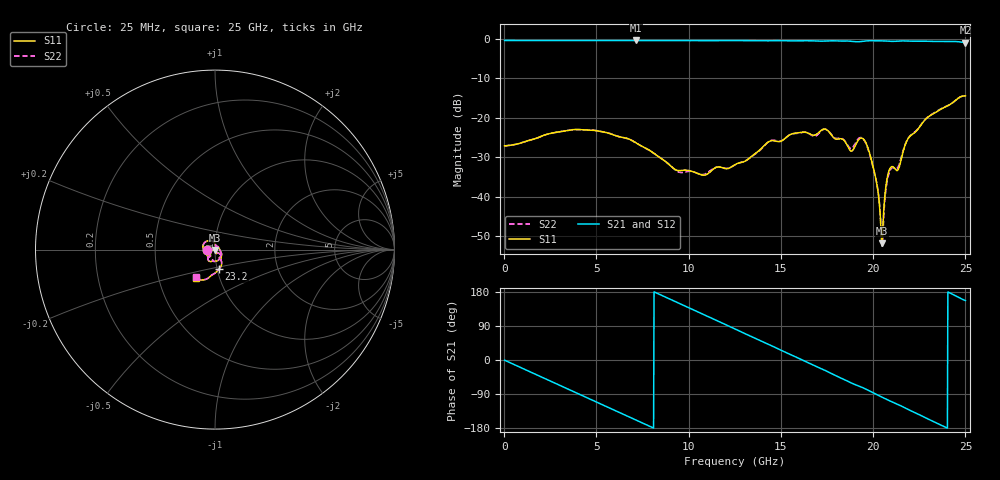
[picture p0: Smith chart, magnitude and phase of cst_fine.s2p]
! R_s4_rect_n4: Finite board 24 × 16 mm, via L1 → L4 through the L2/L3 cavity, four GND vias at 1 mm
! stackup: 4-layer 1.6 mm FR-4
! ports: 1 L1, 2 L4
! CST Studio Suite 2025.5 Release from 2025-05-30, time domain (FIT, hexahedral, PBA), 698100 mesh cells, 130 s
! mesh: {'lpw': 30.0, 'lpb': 30.0, 'minstep': 0.0, 'ratio': 20}; ports: port 1 (face); port 2 (face)
! interpolated from CST's 1001 samples to the case grid
# Hz S RI R 50
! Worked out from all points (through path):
!   1000 points, 25 MHz to 25 GHz, reference 50 ohm
!   highest |S21| = -0.39 dB at 7.125 GHz (marker M1); lowest = -0.9 dB at 25 GHz (marker M2)
!   group delay of S21, straight-line fit = 62.4 ps
!   lowest |S11| = -51.8 dB at 20.48 GHz (marker M3), VSWR 1.01, Z = 49.9 - j0.239 ohm
!   |S11| at or under -10 dB: start of sweep to end of sweep
!   |S22| runs from -52.5 to -14.5 dB; largest |S21 - S12| = 0.00058
!   S11 on the Smith chart (normalised r, x): 25 MHz: 0.92, -0.00; 23.2 GHz: 1.02, -0.22; 25 GHz: 0.77, -0.25
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2.5e7  -0.0444 -0.000178  0.9554 -0.00923  0.9555 -0.00924  -0.0444 -0.000169
1.15e9  -0.0501 -0.00506  0.8626 -0.411  0.8625 -0.4111  -0.0501 -0.00503
2.4e9  -0.0628 0.000306  0.5733 -0.764  0.5733 -0.764  -0.0628 0.000224
4.2e9  -0.0644 0.0295  -0.0502 -0.9538  -0.0501 -0.9538  -0.0645 0.0295
5.575e9  -0.044 0.0477  -0.5271 -0.797  -0.5271 -0.797  -0.0441 0.0479
7.125e9  -0.0137 0.0467  -0.886 -0.36  -0.8861 -0.36  -0.0136 0.0467
8.35e9  0.000737 0.0325  -0.952 0.0868  -0.9519 0.0868  0.000767 0.0326
9.45e9  0.00233 0.0214  -0.8271 0.4747  -0.8272 0.4746  0.00297 0.0205
1.065e10  0.00861 0.0172  -0.5263 0.7944  -0.5263 0.7945  0.00791 0.0175
1.2525e10  0.0257 0.00253  0.1392 0.9433  0.1393 0.9433  0.0255 0.0025
1.48e10  0.0253 -0.0434  0.8201 0.4821  0.8202 0.4822  0.0255 -0.0442
1.6675e10  -0.0134 -0.0596  0.9256 -0.1966  0.9258 -0.1966  -0.0142 -0.0584
1.7425e10  -0.0348 -0.0628  0.8316 -0.4446  0.8318 -0.4446  -0.0325 -0.0641
1.8825e10  -0.0256 -0.028  0.4542 -0.8144  0.4541 -0.8142  -0.0271 -0.0308
1.9475e10  -0.0472 -0.0262  0.2609 -0.8977  0.2607 -0.8978  -0.0485 -0.0232
2.0125e10  -0.018 -0.000331  0.00628 -0.9469  0.00634 -0.9472  -0.0178 -0.000346
2.0475e10  -0.000937 -0.0024  -0.1307 -0.9366  -0.1309 -0.9363  -0.00151 -0.00185
2.085e10  0.0104 -0.0184  -0.2686 -0.8952  -0.2684 -0.8953  0.0107 -0.0164
2.1375e10  0.0132 -0.0184  -0.4397 -0.83  -0.4397 -0.8297  0.0153 -0.0193
2.1925e10  0.0343 -0.0443  -0.6187 -0.7051  -0.619 -0.7053  0.0347 -0.0447
2.32e10  0.0213 -0.1088  -0.8788 -0.3054  -0.8784 -0.3052  0.021 -0.11
2.5e10  -0.1074 -0.1563  -0.826 0.353  -0.8255 0.3527  -0.1081 -0.1533
